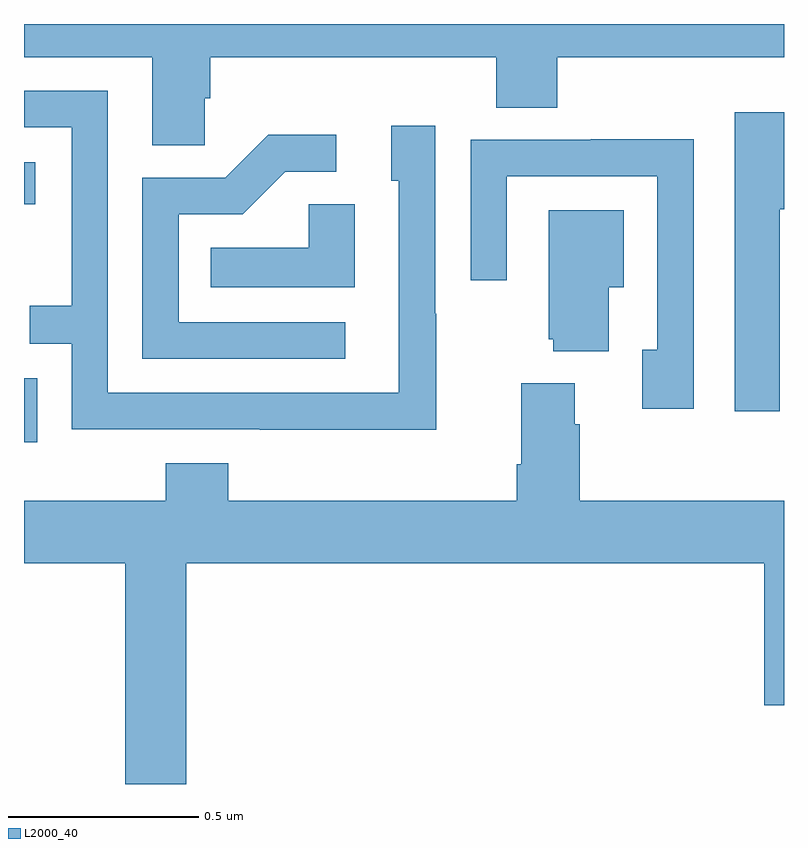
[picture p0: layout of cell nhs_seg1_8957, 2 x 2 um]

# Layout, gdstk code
import gdstk
lib = gdstk.Library(unit=1e-6, precision=1e-09)
def R(c, l, rs):  # rectangles x0, y0, x1, y1
    for r in rs: c.add(gdstk.rectangle(r[:2], r[2:], *l))
def P(c, l, *ps):  # polygons
    for p in ps: c.add(gdstk.Polygon(p, *l))
L2000_40 = (2000, 40)

nhs_seg1_8957 = lib.new_cell('nhs_seg1_8957')
R(nhs_seg1_8957, L2000_40, [(223,504.099,223.035,504.267), (223,504.725,223.03,504.835)])
P(nhs_seg1_8957, L2000_40, [(223.476,505.003),(223.49,505.003),(223.49,505.112),(224.243,505.112),(224.243,504.979),(224.403,504.979),(224.403,505.112),(225,505.112),(225,505.199),(223,505.199),(223,505.112),(223.337,505.112),(223.337,504.88),(223.476,504.88)],
  [(224.085,504.437),(224.082,504.437),(224.082,504.931),(223.967,504.931),(223.967,504.786),(223.986,504.786),(223.986,504.228),(223.221,504.228),(223.221,505.023),(223,505.023),(223,504.927),(223.125,504.927),(223.125,504.458),(223.015,504.458),(223.015,504.357),(223.125,504.357),(223.125,504.132),(223.621,504.132),(223.621,504.131),(224.085,504.131)],
  [(224.989,504.711),(225,504.711),(225,504.967),(224.87,504.967),(224.87,504.18),(224.989,504.18)],
  [(223.846,504.414),(223.407,504.414),(223.407,504.699),(223.576,504.699),(223.687,504.81),(223.822,504.81),(223.822,504.908),(223.643,504.908),(223.53,504.795),(223.311,504.795),(223.311,504.318),(223.846,504.318)],
  [(224.763,504.896),(224.491,504.896),(224.491,504.894),(224.175,504.894),(224.175,504.525),(224.271,504.525),(224.271,504.798),(224.667,504.798),(224.667,504.342),(224.627,504.342),(224.627,504.186),(224.763,504.186)],
  [(223.87,504.725),(223.749,504.725),(223.749,504.61),(223.492,504.61),(223.492,504.506),(223.87,504.506)],
  [(224.539,504.506),(224.578,504.506),(224.578,504.709),(224.381,504.709),(224.381,504.369),(224.393,504.369),(224.393,504.338),(224.539,504.338)],
  [(223.427,503.78),(224.948,503.78),(224.948,503.406),(225,503.406),(225,503.944),(224.462,503.944),(224.462,504.146),(224.449,504.146),(224.449,504.253),(224.309,504.253),(224.309,504.04),(224.297,504.04),(224.297,503.944),(223.538,503.944),(223.538,504.043),(223.373,504.043),(223.373,503.944),(223,503.944),(223,503.78),(223.267,503.78),(223.267,503.199),(223.427,503.199)])

lib.write_gds('nhs_seg1_8957.gds')
